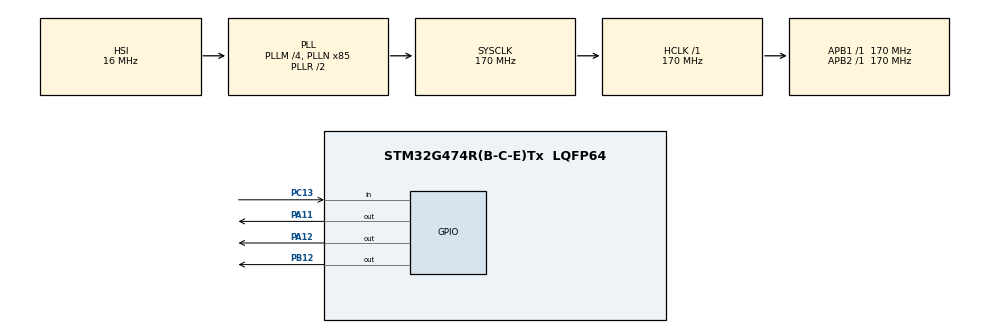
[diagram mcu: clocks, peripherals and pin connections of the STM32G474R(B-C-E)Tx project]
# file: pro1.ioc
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Mcu.Family=STM32G4
Mcu.Name=STM32G474R(B-C-E)Tx
Mcu.Package=LQFP64
NVIC.PriorityGroup=NVIC_PRIORITYGROUP_4
PA11.Signal=GPIO_Output
PA12.Signal=GPIO_Output
PA13.GPIO_Label=T_SWDIO
PA13.Signal=SYS_JTMS-SWDIO
PA14.GPIO_Label=T_SWCLK
PA14.Signal=SYS_JTCK-SWCLK
PA2.GPIO_Label=LPUART1_TX [STLINKV3E_VCP_RX]
PA2.Signal=LPUART1_TX
PA3.GPIO_Label=LPUART1_RX [STLINKV3E_VCP_TX]
PA3.Signal=LPUART1_RX
PB12.Signal=GPIO_Output
PB3.GPIO_Label=T_SWO
PB3.Signal=SYS_JTDO-SWO
PC13.Signal=GPIO_Input
PC14-OSC32_IN.GPIO_Label=RCC_OSC32_IN
PC14-OSC32_IN.Signal=RCC_OSC32_IN
PC15-OSC32_OUT.GPIO_Label=RCC_OSC32_OUT
PC15-OSC32_OUT.Signal=RCC_OSC32_OUT
PF0-OSC_IN.GPIO_Label=RCC_OSC_IN
PF0-OSC_IN.Signal=RCC_OSC_IN
PF1-OSC_OUT.GPIO_Label=RCC_OSC_OUT
PF1-OSC_OUT.Signal=RCC_OSC_OUT
ProjectManager.HeapSize=0x200
ProjectManager.StackSize=0x400
ProjectManager.TargetToolchain=STM32CubeIDE
RCC.ADC12Freq_Value=170000000
RCC.ADC345Freq_Value=170000000
RCC.AHBFreq_Value=170000000
RCC.APB1Freq_Value=170000000
RCC.APB1TimFreq_Value=170000000
RCC.APB2Freq_Value=170000000
RCC.APB2TimFreq_Value=170000000
RCC.CortexFreq_Value=170000000
RCC.EXTERNAL_CLOCK_VALUE=12288000
RCC.HCLKFreq_Value=170000000
RCC.HSE_VALUE=24000000
RCC.HSI48_VALUE=48000000
RCC.HSI_VALUE=16000000
RCC.LSE_VALUE=32768
RCC.PLLM=RCC_PLLM_DIV4
RCC.PLLN=85
RCC.RTCClockSelection=RCC_RTCCLKSOURCE_LSE
RCC.SYSCLKFreq_VALUE=170000000
RCC.SYSCLKSource=RCC_SYSCLKSOURCE_PLLCLK
RCC.USBFreq_Value=170000000
RCC.VCOOutputFreq_Value=340000000
VP_SYS_VS_DBSignals.Mode=DisableDeadBatterySignals
board=NUCLEO-G474RE

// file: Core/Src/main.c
/* USER CODE BEGIN Header */
/**
  ******************************************************************************
  * @file           : main.c
  * @brief          : Main program body
  ******************************************************************************
  * @attention
  *
  * Copyright (c) 2026 STMicroelectronics.
  * All rights reserved.
  *
  * This software is licensed under terms that can be found in the LICENSE file
  * in the root directory of this software component.
  * If no LICENSE file comes with this software, it is provided AS-IS.
  *
  ******************************************************************************
  */
/* USER CODE END Header */
#include "main.h"

/* USER CODE BEGIN PV */
uint8_t state = 0;           // 記錄目前狀態 (0~3)
uint8_t last_btn_state = 1;  // 記錄上一次按鈕狀態 (預設 High)
/* USER CODE END PV */

void SystemClock_Config(void);
static void MX_GPIO_Init(void);

int main(void)
{

  /* MCU Configuration--------------------------------------------------------*/

  /* Reset of all peripherals, Initializes the Flash interface and the Systick. */
  HAL_Init();

  /* Configure the system clock */
  SystemClock_Config();

  /* Initialize all configured peripherals */
  MX_GPIO_Init();

  /* Infinite loop */
    while (1)
    {

      /* USER CODE BEGIN 3 */
      // 讀取 PC13 按鈕狀態
      uint8_t current_btn_state = HAL_GPIO_ReadPin(GPIOC, GPIO_PIN_13);

      // 偵測按鈕下降邊緣 (從 未按下 變為 按下)
      if (last_btn_state == GPIO_PIN_SET && current_btn_state == GPIO_PIN_RESET)
      {
        HAL_Delay(50); // 簡單按鍵去彈跳 (Debounce)

        // 再次確認是否真的按下
        if (HAL_GPIO_ReadPin(GPIOC, GPIO_PIN_13) == GPIO_PIN_RESET)
        {
          state = (state + 1) % 4; // 狀態切換：0 -> 1 -> 2 -> 3 -> 0

          // 根據狀態設定 LED 輸出
          switch (state)
          {
            case 1: // 第 1 次按下：僅亮紅燈 (PB12)
              HAL_GPIO_WritePin(GPIOB, GPIO_PIN_12, GPIO_PIN_SET);
              HAL_GPIO_WritePin(GPIOA, GPIO_PIN_11, GPIO_PIN_RESET);
              HAL_GPIO_WritePin(GPIOA, GPIO_PIN_12, GPIO_PIN_RESET);
              break;

            case 2: // 第 2 次按下：亮紅燈 (PB12)、黃燈 (PA11)
              HAL_GPIO_WritePin(GPIOB, GPIO_PIN_12, GPIO_PIN_SET);
              HAL_GPIO_WritePin(GPIOA, GPIO_PIN_11, GPIO_PIN_SET);
              HAL_GPIO_WritePin(GPIOA, GPIO_PIN_12, GPIO_PIN_RESET);
              break;

            case 3: // 第 3 次按下：全亮 (紅 PB12, 黃 PA11, 綠 PA12)
              HAL_GPIO_WritePin(GPIOB, GPIO_PIN_12, GPIO_PIN_SET);
              HAL_GPIO_WritePin(GPIOA, GPIO_PIN_11, GPIO_PIN_SET);
              HAL_GPIO_WritePin(GPIOA, GPIO_PIN_12, GPIO_PIN_SET);
              break;

            case 0: // 第 4 次按下：全滅
            default:
              HAL_GPIO_WritePin(GPIOB, GPIO_PIN_12, GPIO_PIN_RESET);
              HAL_GPIO_WritePin(GPIOA, GPIO_PIN_11, GPIO_PIN_RESET);
              HAL_GPIO_WritePin(GPIOA, GPIO_PIN_12, GPIO_PIN_RESET);
              break;
          }
        }
      }

      // 更新按鈕狀態記錄
      last_btn_state = current_btn_state;
    }
    /* USER CODE END 3 */
}

void SystemClock_Config(void)
{
  RCC_OscInitTypeDef RCC_OscInitStruct = {0};
  RCC_ClkInitTypeDef RCC_ClkInitStruct = {0};

  /** Configure the main internal regulator output voltage
  */
  HAL_PWREx_ControlVoltageScaling(PWR_REGULATOR_VOLTAGE_SCALE1_BOOST);

  /** Initializes the RCC Oscillators according to the specified parameters
  * in the RCC_OscInitTypeDef structure.
  */
  RCC_OscInitStruct.OscillatorType = RCC_OSCILLATORTYPE_HSI;
  RCC_OscInitStruct.HSIState = RCC_HSI_ON;
  RCC_OscInitStruct.HSICalibrationValue = RCC_HSICALIBRATION_DEFAULT;
  RCC_OscInitStruct.PLL.PLLState = RCC_PLL_ON;
  RCC_OscInitStruct.PLL.PLLSource = RCC_PLLSOURCE_HSI;
  RCC_OscInitStruct.PLL.PLLM = RCC_PLLM_DIV4;
  RCC_OscInitStruct.PLL.PLLN = 85;
  RCC_OscInitStruct.PLL.PLLP = RCC_PLLP_DIV2;
  RCC_OscInitStruct.PLL.PLLQ = RCC_PLLQ_DIV2;
  RCC_OscInitStruct.PLL.PLLR = RCC_PLLR_DIV2;
  if (HAL_RCC_OscConfig(&RCC_OscInitStruct) != HAL_OK)
  {
    Error_Handler();
  }

  /** Initializes the CPU, AHB and APB buses clocks
  */
  RCC_ClkInitStruct.ClockType = RCC_CLOCKTYPE_HCLK|RCC_CLOCKTYPE_SYSCLK
                              |RCC_CLOCKTYPE_PCLK1|RCC_CLOCKTYPE_PCLK2;
  RCC_ClkInitStruct.SYSCLKSource = RCC_SYSCLKSOURCE_PLLCLK;
  RCC_ClkInitStruct.AHBCLKDivider = RCC_SYSCLK_DIV1;
  RCC_ClkInitStruct.APB1CLKDivider = RCC_HCLK_DIV1;
  RCC_ClkInitStruct.APB2CLKDivider = RCC_HCLK_DIV1;

  if (HAL_RCC_ClockConfig(&RCC_ClkInitStruct, FLASH_LATENCY_4) != HAL_OK)
  {
    Error_Handler();
  }
}

static void MX_GPIO_Init(void)
{
  GPIO_InitTypeDef GPIO_InitStruct = {0};

  /* GPIO Ports Clock Enable */
  __HAL_RCC_GPIOC_CLK_ENABLE();
  __HAL_RCC_GPIOF_CLK_ENABLE();
  __HAL_RCC_GPIOA_CLK_ENABLE();
  __HAL_RCC_GPIOB_CLK_ENABLE();

  /*Configure GPIO pin Output Level */
  HAL_GPIO_WritePin(GPIOB, GPIO_PIN_12, GPIO_PIN_RESET);

  /*Configure GPIO pin Output Level */
  HAL_GPIO_WritePin(GPIOA, GPIO_PIN_11|GPIO_PIN_12, GPIO_PIN_RESET);

  /*Configure GPIO pin : PC13 */
  GPIO_InitStruct.Pin = GPIO_PIN_13;
  GPIO_InitStruct.Mode = GPIO_MODE_INPUT;
  GPIO_InitStruct.Pull = GPIO_NOPULL;
  HAL_GPIO_Init(GPIOC, &GPIO_InitStruct);

  /*Configure GPIO pins : LPUART1_TX_Pin LPUART1_RX_Pin */
  GPIO_InitStruct.Pin = LPUART1_TX_Pin|LPUART1_RX_Pin;
  GPIO_InitStruct.Mode = GPIO_MODE_AF_PP;
  GPIO_InitStruct.Pull = GPIO_NOPULL;
  GPIO_InitStruct.Speed = GPIO_SPEED_FREQ_LOW;
  GPIO_InitStruct.Alternate = GPIO_AF12_LPUART1;
  HAL_GPIO_Init(GPIOA, &GPIO_InitStruct);

  /*Configure GPIO pin : PB12 */
  GPIO_InitStruct.Pin = GPIO_PIN_12;
  GPIO_InitStruct.Mode = GPIO_MODE_OUTPUT_PP;
  GPIO_InitStruct.Pull = GPIO_NOPULL;
  GPIO_InitStruct.Speed = GPIO_SPEED_FREQ_LOW;
  HAL_GPIO_Init(GPIOB, &GPIO_InitStruct);

  /*Configure GPIO pins : PA11 PA12 */
  GPIO_InitStruct.Pin = GPIO_PIN_11|GPIO_PIN_12;
  GPIO_InitStruct.Mode = GPIO_MODE_OUTPUT_PP;
  GPIO_InitStruct.Pull = GPIO_NOPULL;
  GPIO_InitStruct.Speed = GPIO_SPEED_FREQ_LOW;
  HAL_GPIO_Init(GPIOA, &GPIO_InitStruct);

}

void Error_Handler(void)
{
  __disable_irq();
  while (1)
  {
  }
}
